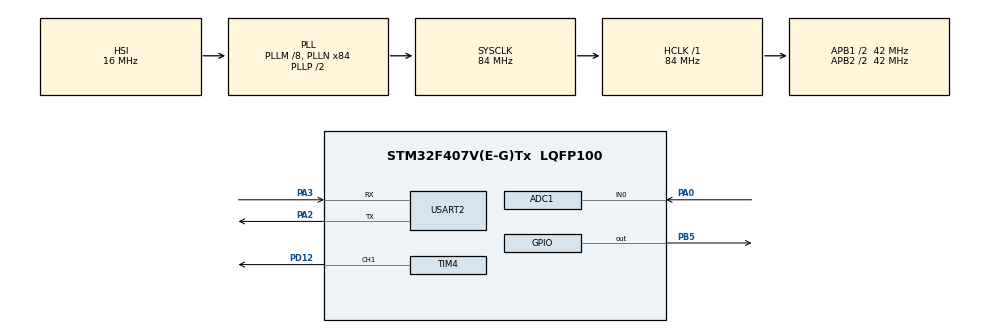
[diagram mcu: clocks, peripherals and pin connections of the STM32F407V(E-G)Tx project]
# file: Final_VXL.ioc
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ADC1.Channel-2\#ChannelRegularConversion=ADC_CHANNEL_0
ADC1.ContinuousConvMode=ENABLE
ADC1.DMAContinuousRequests=ENABLE
ADC1.ExternalTrigConv=ADC_EXTERNALTRIGCONV_T3_TRGO
ADC1.NbrOfConversionFlag=1
ADC1.Rank-2\#ChannelRegularConversion=1
ADC1.SamplingTime-2\#ChannelRegularConversion=ADC_SAMPLETIME_3CYCLES
ADC1.master=1
Dma.ADC1.0.Direction=DMA_PERIPH_TO_MEMORY
Dma.ADC1.0.FIFOMode=DMA_FIFOMODE_DISABLE
Dma.ADC1.0.Instance=DMA2_Stream4
Dma.ADC1.0.MemDataAlignment=DMA_MDATAALIGN_HALFWORD
Dma.ADC1.0.MemInc=DMA_MINC_ENABLE
Dma.ADC1.0.Mode=DMA_CIRCULAR
Dma.ADC1.0.PeriphDataAlignment=DMA_PDATAALIGN_HALFWORD
Dma.ADC1.0.PeriphInc=DMA_PINC_DISABLE
Dma.ADC1.0.Priority=DMA_PRIORITY_LOW
Dma.Request0=ADC1
Dma.Request1=TIM4_CH1
Dma.TIM4_CH1.1.Direction=DMA_MEMORY_TO_PERIPH
Dma.TIM4_CH1.1.FIFOMode=DMA_FIFOMODE_DISABLE
Dma.TIM4_CH1.1.Instance=DMA1_Stream0
Dma.TIM4_CH1.1.MemDataAlignment=DMA_MDATAALIGN_HALFWORD
Dma.TIM4_CH1.1.MemInc=DMA_MINC_ENABLE
Dma.TIM4_CH1.1.Mode=DMA_NORMAL
Dma.TIM4_CH1.1.PeriphDataAlignment=DMA_PDATAALIGN_HALFWORD
Dma.TIM4_CH1.1.PeriphInc=DMA_PINC_DISABLE
Dma.TIM4_CH1.1.Priority=DMA_PRIORITY_LOW
Mcu.Family=STM32F4
Mcu.Name=STM32F407V(E-G)Tx
Mcu.Package=LQFP100
Mcu.UserConstants=LED_CNT,106
NVIC.DMA1_Stream0_IRQn=true\:0\:0\:false\:false\:true\:false\:true\:true
NVIC.DMA2_Stream4_IRQn=true\:0\:0\:false\:false\:true\:false\:true\:true
NVIC.PriorityGroup=NVIC_PRIORITYGROUP_4
NVIC.TIM3_IRQn=true\:0\:0\:false\:false\:true\:true\:true\:true
PA0-WKUP.Signal=ADCx_IN0
PA2.Mode=Asynchronous
PA2.Signal=USART2_TX
PA3.Mode=Asynchronous
PA3.Signal=USART2_RX
PB5.Signal=GPIO_Output
PD12.Signal=S_TIM4_CH1
PH0-OSC_IN.Mode=HSE-External-Oscillator
PH0-OSC_IN.Signal=RCC_OSC_IN
PH1-OSC_OUT.Mode=HSE-External-Oscillator
PH1-OSC_OUT.Signal=RCC_OSC_OUT
ProjectManager.HeapSize=0x200
ProjectManager.StackSize=0x400
ProjectManager.TargetToolchain=STM32CubeIDE
RCC.48MHZClocksFreq_Value=42000000
RCC.AHBFreq_Value=84000000
RCC.APB1CLKDivider=RCC_HCLK_DIV2
RCC.APB1Freq_Value=42000000
RCC.APB1TimFreq_Value=84000000
RCC.APB2CLKDivider=RCC_HCLK_DIV2
RCC.APB2Freq_Value=42000000
RCC.APB2TimFreq_Value=84000000
RCC.CortexFreq_Value=84000000
RCC.HCLKFreq_Value=84000000
RCC.HSE_VALUE=8000000
RCC.HSI_VALUE=16000000
RCC.LSE_VALUE=32768
RCC.PLLM=8
RCC.PLLN=84
RCC.SYSCLKFreq_VALUE=84000000
RCC.SYSCLKSource=RCC_SYSCLKSOURCE_PLLCLK
RCC.VCOOutputFreq_Value=168000000
SH.ADCx_IN0.0=ADC1_IN0,IN0
SH.S_TIM4_CH1.0=TIM4_CH1,PWM Generation1 CH1
STMicroelectronics.X-CUBE-ALGOBUILD.1.4.0.LibraryCcDSPOoLibraryJjDSPOoLibrary=true
TIM3.Period=25-1
TIM3.Prescaler=100-1
TIM3.TIM_MasterOutputTrigger=TIM_TRGO_UPDATE
TIM4.Channel-PWM\ Generation1\ CH1=TIM_CHANNEL_1
TIM4.Period=105
TIM4.Prescaler=0
USART2.VirtualMode=VM_ASYNC
VP_STMicroelectronics.X-CUBE-ALGOBUILD_VS_DSPOoLibraryJjLibrary_1.4.0_1.4.0.Mode=DSPOoLibraryJjLibrary
VP_TIM3_VS_ClockSourceINT.Mode=Internal
VP_TIM4_VS_ClockSourceINT.Mode=Internal
board=custom

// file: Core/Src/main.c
/* USER CODE BEGIN Header */
/**
  ******************************************************************************
  * @file           : main.c
  * @brief          : Main program body
  ******************************************************************************
  * @attention
  *
  * Copyright (c) 2024 STMicroelectronics.
  * All rights reserved.
  *
  * This software is licensed under terms that can be found in the LICENSE file
  * in the root directory of this software component.
  * If no LICENSE file comes with this software, it is provided AS-IS.
  *
  ******************************************************************************
  */
/* USER CODE END Header */
#include "main.h"

/* USER CODE BEGIN Includes */
#include"ws2812.h"
#include "stdlib.h"
#include "arm_math.h"
#include <stdio.h>
#define min(a,b) (((a)<(b))?(a):(b))
#define SamplesFFT 256

uint16_t colorValue[32]= {0x000F,0x03E0,0x03EF,0x7800,0x780F,0x7BE0,
		                  0xC618,0x001F,0x07E0,0x07FF,0xF800,0xF81F,
						  0xFFE0,0xFFFF,0xFD20,0XBC40,0XFC07,0x000F,
						  0x03E0,0x03EF,0x7800,0x780F,0x7BE0,0xC618,
						  0x001F,0x07E0,0x07FF,0xF800,0xF81F,0xFFE0,
						  0xFFFF,0xFD20};
uint32_t next_led = 0;
/* USER CODE END Includes */

ADC_HandleTypeDef hadc1;
DMA_HandleTypeDef hdma_adc1;

TIM_HandleTypeDef htim3;

DMA_HandleTypeDef hdma_tim4_ch1;
TIM_HandleTypeDef htim4;
UART_HandleTypeDef huart2;

void SystemClock_Config(void);
static void MX_GPIO_Init(void);
static void MX_DMA_Init(void);
static void MX_ADC1_Init(void);
static void MX_TIM3_Init(void);
static void MX_USART2_UART_Init(void);
static void MX_TIM4_Init(void);

/* USER CODE BEGIN 0 */
uint16_t adcValue[SamplesFFT];
float32_t input[SamplesFFT];
float32_t output[SamplesFFT];
uint32_t doConvert = SamplesFFT;
volatile uint8_t buffer_half = 0;         // Cờ nửa đầu buffer
volatile uint8_t buffer_full = 0;

// Done sending first half of the DMA buffer - this can now safely be updated

// Done sending the second half of the DMA buffer - this can now be safely updated

void uart_debug(const char *msg) {
    HAL_UART_Transmit(&huart2, (uint8_t *)msg, strlen(msg), HAL_MAX_DELAY);
}

void uart_debug_int(const char *label, int value) {
    char buffer[128];
    sprintf(buffer, "%s: %d\r\n", label, value);
    uart_debug(buffer);
}

void uart_debug_uint(const char *label, uint32_t value) {
    char buffer[128];
    sprintf(buffer, "%s: %lu\r\n", label, value);
    uart_debug(buffer);
}

void uart_debug_float(const char *label, float value) {
    char buffer[128];
    sprintf(buffer, "%s: %.4f\r\n", label, value);
    uart_debug(buffer);
}

void update_led_matrix(uint8_t *ledMatrix) {
	    for (int col = 0; col < 8; col++) {
	        int height = ledMatrix[col]; // Độ cao của cột hiện tại
	        for (int row = 0; row < 8; row++) {
	            uint16_t ledIndex = col + row * 8; // Tính chỉ số LED (ma trận 8x8)
	            if (row < height) { // Chỉ bật LED nếu hàng nhỏ hơn độ cao
	                uint8_t intensity = (row * 32) > 255 ? 255 : (row * 32); // Ánh xạ 0-8 thành 0-255
	                // Gradient màu: đỏ (đáy), xanh lá (giữa), xanh dương (đỉnh)
	                uint8_t red = (height - row) * 32 > 255 ? 255 : (height - row) * 32;   // Giảm dần từ đỏ
	                uint8_t green = (row * 32) > 255 ? 255 : (row * 32);                   // Tăng dần xanh lá
	                uint8_t blue = (row * 16) > 255 ? 255 : (row * 16);                    // Tăng dần xanh dương
	                WS2812_Set(ledIndex, red, green, blue); // Đặt màu cho LED
	            } else {
	                WS2812_Set(ledIndex, 0, 0, 0); // Tắt LED nếu vượt quá độ cao
	            }
	        }
	    }
	    // Giả sử DMA đã được kích hoạt, ví dụ: HAL_TIM_PWM_Start_DMA(...)
}

/* USER CODE END 0 */

int main(void)
{

  /* MCU Configuration--------------------------------------------------------*/

  /* Reset of all peripherals, Initializes the Flash interface and the Systick. */
  HAL_Init();

  /* Configure the system clock */
  SystemClock_Config();

  /* Initialize all configured peripherals */
  MX_GPIO_Init();
  MX_DMA_Init();
  MX_ADC1_Init();
  MX_TIM3_Init();
  MX_USART2_UART_Init();
  MX_TIM4_Init();
  /* USER CODE BEGIN 2 */

   arm_rfft_fast_instance_f32 fftInstance;
   HAL_ADC_Start_DMA(&hadc1, adcValue, SamplesFFT);
   HAL_TIM_Base_Start_IT(&htim3);
   arm_rfft_fast_init_f32(&fftInstance, SamplesFFT);

   WS2812_Init();

   HAL_TIM_PWM_Start_DMA(&htim4, TIM_CHANNEL_1, (uint32_t *)WS2812_RGB_Buff, sizeof(WS2812_RGB_Buff)/sizeof(int));

  /* USER CODE END 2 */

  /* Infinite loop */
  /* USER CODE BEGIN WHILE */
  while (1)
  {
	   // HAL_GPIO_TogglePin(GPIOB, GPIO_PIN_5); // LED debug
	   // HAL_Delay(500);
	 // uart_debug("UART Test OK\r\n");
	//  HAL_Delay(1000);
	  	 		if(doConvert == 0){
	  	 		  		doConvert = SamplesFFT;
	  	 		  		//FFT �?�?

	  	 		  		  	 		uart_debug("ADC Samples:");
	  	 		  		  	 		for (int i = 0; i < SamplesFFT; i+=8) {
	  	 		  		  	 		    char line[128];
	  	 		  		  	 		    int len = sprintf(line, "%4lu %4lu %4lu %4lu %4lu %4lu %4lu %4lu\r\n",
	  	 		  		  	 		                      adcValue[i], adcValue[i+1], adcValue[i+2], adcValue[i+3],
	  	 		  		  	 		                      adcValue[i+4], adcValue[i+5], adcValue[i+6], adcValue[i+7]);
	  	 		  		  	 		    HAL_UART_Transmit(&huart2, (uint8_t *)line, len, HAL_MAX_DELAY);
	  	 		  		  	 		}
	  	 		  		  	 float32_t dcOffset = 0.0f;
	  	 		  		  	 for (int i = 0; i < SamplesFFT; i++) {
	  	 		  		  	     dcOffset += (float32_t)adcValue[i];
	  	 		  		  	 }
	  	 		  		  	 dcOffset /= SamplesFFT;
	  	 		  		  	 for (int i = 0; i < SamplesFFT; i++) {
	  	 		  		  	     if (adcValue[i] >= 4095 || adcValue[i] <= 0) {
	  	 		  		  	         input[i] = 0.0f; // Bỏ qua giá trị rác hoặc bão hòa
	  	 		  		  	     } else {
	  	 		  		  	         input[i] = ((float32_t)adcValue[i] - dcOffset) / 2048.0f; // Chuẩn hóa [-1, 1]
	  	 		  		  	     }
	  	 		  		  	 }

	  	 		  	 uart_debug("Input for FFT:\r\n");
	  	 		  for (int i = 0; i < min(SamplesFFT, 64); i += 8) {
	  	 		                  char line[128];
	  	 		                  snprintf(line, sizeof(line), "%.4f %.4f %.4f %.4f %.4f %.4f %.4f %.4f\r\n",
	  	 		                           input[i], input[i+1], input[i+2], input[i+3],
	  	 		                           input[i+4], input[i+5], input[i+6], input[i+7]);
	  	 		                  if (HAL_UART_Transmit(&huart2, (uint8_t *)line, strlen(line), 1000) != HAL_OK) {
	  	 		                      // Xử lý lỗi
	  	 		                  }
	  	 		              }

	  	 			  		arm_rfft_fast_f32(&fftInstance, input, output, 0);

	  	 		             // Tính độ lớn
	  	 			  	float32_t magnitude[SamplesFFT/2];
	  	 			  	arm_cmplx_mag_f32(output, magnitude, SamplesFFT/2);

	  	 			 uart_debug("FFT Output (Magnitude):\r\n");
	  	 			         for (int i = 0; i < min(SamplesFFT/2, 16); i += 4) {
	  	 			             char line[64];
	  	 			             snprintf(line, sizeof(line), "%.4f %.4f %.4f %.4f\r\n",
	  	 			                      magnitude[i], magnitude[i+1], magnitude[i+2], magnitude[i+3]);
	  	 			             HAL_UART_Transmit(&huart2, (uint8_t *)line, strlen(line), 1000);
	  	 			         }

	  	 		float32_t globalMax = 0;
	  	 		        for (int i = 0; i < SamplesFFT/2; i++) {
	  	 		            if (magnitude[i] > globalMax) globalMax = magnitude[i];
	  	 		        }

	  	 		        // Ánh xạ phổ vào ma trận LED
	  	 		     uint8_t ledMatrix[8] = {0};
	  	 		        for (int band = 0; band < 8; band++) {
	  	 		            float32_t maxMagnitude = 0.0;
	  	 		            for (int i = band * 16; i < (band + 1) * 16 && i < SamplesFFT/2; i++) {
	  	 		                if (magnitude[i] > maxMagnitude) maxMagnitude = magnitude[i];
	  	 		            }
	  	 		            ledMatrix[band] = (uint8_t)((maxMagnitude / (globalMax + 1e-6)) * 8.0); // Chuẩn hóa
	  	 		            if (ledMatrix[band] > 8) ledMatrix[band] = 8;
	  	 		        }

	  	 		        // In giá trị cho ma trận LED (debug)
	  	 		        uart_debug("LED Matrix Columns (0-8):\r\n");

	  	 		        char line[256];
	  	 		        snprintf(line, sizeof(line), "%d %d %d %d %d %d %d %d\r\n",
	  	 		                 ledMatrix[0], ledMatrix[1], ledMatrix[2], ledMatrix[3],
	  	 		                 ledMatrix[4], ledMatrix[5], ledMatrix[6], ledMatrix[7]);
	  	 		        if (HAL_UART_Transmit(&huart2, (uint8_t *)line, strlen(line), 1000) != HAL_OK) {
	  	 		            uart_debug("UART Transmit Error\r\n");
	  	 		        }

	  	 		  		//출력 결과�? 128개로 분할
	  	 		   update_led_matrix(ledMatrix);
	  	 	//	 ws2812_demo_task(&ws2812, HAL_GetTick(), &next_led, ledMatrix);

	  	 		  	  uart_debug("Spectrum displayed to matrix\r\n");
	  	 		}

    /* USER CODE END WHILE */

  }
}

void SystemClock_Config(void)
{
  RCC_OscInitTypeDef RCC_OscInitStruct = {0};
  RCC_ClkInitTypeDef RCC_ClkInitStruct = {0};

  /** Configure the main internal regulator output voltage
  */
  __HAL_RCC_PWR_CLK_ENABLE();
  __HAL_PWR_VOLTAGESCALING_CONFIG(PWR_REGULATOR_VOLTAGE_SCALE1);

  /** Initializes the RCC Oscillators according to the specified parameters
  * in the RCC_OscInitTypeDef structure.
  */
  RCC_OscInitStruct.OscillatorType = RCC_OSCILLATORTYPE_HSI;
  RCC_OscInitStruct.HSIState = RCC_HSI_ON;
  RCC_OscInitStruct.HSICalibrationValue = RCC_HSICALIBRATION_DEFAULT;
  RCC_OscInitStruct.PLL.PLLState = RCC_PLL_ON;
  RCC_OscInitStruct.PLL.PLLSource = RCC_PLLSOURCE_HSI;
  RCC_OscInitStruct.PLL.PLLM = 8;
  RCC_OscInitStruct.PLL.PLLN = 84;
  RCC_OscInitStruct.PLL.PLLP = RCC_PLLP_DIV2;
  RCC_OscInitStruct.PLL.PLLQ = 4;
  if (HAL_RCC_OscConfig(&RCC_OscInitStruct) != HAL_OK)
  {
    Error_Handler();
  }

  /** Initializes the CPU, AHB and APB buses clocks
  */
  RCC_ClkInitStruct.ClockType = RCC_CLOCKTYPE_HCLK|RCC_CLOCKTYPE_SYSCLK
                              |RCC_CLOCKTYPE_PCLK1|RCC_CLOCKTYPE_PCLK2;
  RCC_ClkInitStruct.SYSCLKSource = RCC_SYSCLKSOURCE_PLLCLK;
  RCC_ClkInitStruct.AHBCLKDivider = RCC_SYSCLK_DIV1;
  RCC_ClkInitStruct.APB1CLKDivider = RCC_HCLK_DIV2;
  RCC_ClkInitStruct.APB2CLKDivider = RCC_HCLK_DIV2;

  if (HAL_RCC_ClockConfig(&RCC_ClkInitStruct, FLASH_LATENCY_2) != HAL_OK)
  {
    Error_Handler();
  }
}

static void MX_ADC1_Init(void)
{

  ADC_ChannelConfTypeDef sConfig = {0};

  /** Configure the global features of the ADC (Clock, Resolution, Data Alignment and number of conversion)
  */
  hadc1.Instance = ADC1;
  hadc1.Init.ClockPrescaler = ADC_CLOCK_SYNC_PCLK_DIV2;
  hadc1.Init.Resolution = ADC_RESOLUTION_12B;
  hadc1.Init.ScanConvMode = DISABLE;
  hadc1.Init.ContinuousConvMode = ENABLE;
  hadc1.Init.DiscontinuousConvMode = DISABLE;
  hadc1.Init.ExternalTrigConvEdge = ADC_EXTERNALTRIGCONVEDGE_RISING;
  hadc1.Init.ExternalTrigConv = ADC_EXTERNALTRIGCONV_T3_TRGO;
  hadc1.Init.DataAlign = ADC_DATAALIGN_RIGHT;
  hadc1.Init.NbrOfConversion = 1;
  hadc1.Init.DMAContinuousRequests = ENABLE;
  hadc1.Init.EOCSelection = ADC_EOC_SINGLE_CONV;
  if (HAL_ADC_Init(&hadc1) != HAL_OK)
  {
    Error_Handler();
  }

  /** Configure for the selected ADC regular channel its corresponding rank in the sequencer and its sample time.
  */
  sConfig.Channel = ADC_CHANNEL_0;
  sConfig.Rank = 1;
  sConfig.SamplingTime = ADC_SAMPLETIME_3CYCLES;
  if (HAL_ADC_ConfigChannel(&hadc1, &sConfig) != HAL_OK)
  {
    Error_Handler();
  }

}

static void MX_TIM3_Init(void)
{

  TIM_ClockConfigTypeDef sClockSourceConfig = {0};
  TIM_MasterConfigTypeDef sMasterConfig = {0};

  htim3.Instance = TIM3;
  htim3.Init.Prescaler = 100-1;
  htim3.Init.CounterMode = TIM_COUNTERMODE_UP;
  htim3.Init.Period = 25-1;
  htim3.Init.ClockDivision = TIM_CLOCKDIVISION_DIV1;
  htim3.Init.AutoReloadPreload = TIM_AUTORELOAD_PRELOAD_DISABLE;
  if (HAL_TIM_Base_Init(&htim3) != HAL_OK)
  {
    Error_Handler();
  }
  sClockSourceConfig.ClockSource = TIM_CLOCKSOURCE_INTERNAL;
  if (HAL_TIM_ConfigClockSource(&htim3, &sClockSourceConfig) != HAL_OK)
  {
    Error_Handler();
  }
  sMasterConfig.MasterOutputTrigger = TIM_TRGO_UPDATE;
  sMasterConfig.MasterSlaveMode = TIM_MASTERSLAVEMODE_DISABLE;
  if (HAL_TIMEx_MasterConfigSynchronization(&htim3, &sMasterConfig) != HAL_OK)
  {
    Error_Handler();
  }

}

static void MX_TIM4_Init(void)
{

  TIM_ClockConfigTypeDef sClockSourceConfig = {0};
  TIM_MasterConfigTypeDef sMasterConfig = {0};
  TIM_OC_InitTypeDef sConfigOC = {0};

  htim4.Instance = TIM4;
  htim4.Init.Prescaler = 0;
  htim4.Init.CounterMode = TIM_COUNTERMODE_UP;
  htim4.Init.Period = 104;
  htim4.Init.ClockDivision = TIM_CLOCKDIVISION_DIV1;
  htim4.Init.AutoReloadPreload = TIM_AUTORELOAD_PRELOAD_DISABLE;
  if (HAL_TIM_Base_Init(&htim4) != HAL_OK)
  {
    Error_Handler();
  }
  sClockSourceConfig.ClockSource = TIM_CLOCKSOURCE_INTERNAL;
  if (HAL_TIM_ConfigClockSource(&htim4, &sClockSourceConfig) != HAL_OK)
  {
    Error_Handler();
  }
  if (HAL_TIM_PWM_Init(&htim4) != HAL_OK)
  {
    Error_Handler();
  }
  sMasterConfig.MasterOutputTrigger = TIM_TRGO_RESET;
  sMasterConfig.MasterSlaveMode = TIM_MASTERSLAVEMODE_DISABLE;
  if (HAL_TIMEx_MasterConfigSynchronization(&htim4, &sMasterConfig) != HAL_OK)
  {
    Error_Handler();
  }
  sConfigOC.OCMode = TIM_OCMODE_PWM1;
  sConfigOC.Pulse = 0;
  sConfigOC.OCPolarity = TIM_OCPOLARITY_HIGH;
  sConfigOC.OCFastMode = TIM_OCFAST_DISABLE;
  if (HAL_TIM_PWM_ConfigChannel(&htim4, &sConfigOC, TIM_CHANNEL_1) != HAL_OK)
  {
    Error_Handler();
  }
  HAL_TIM_MspPostInit(&htim4);

}

static void MX_USART2_UART_Init(void)
{

  huart2.Instance = USART2;
  huart2.Init.BaudRate = 115200;
  huart2.Init.WordLength = UART_WORDLENGTH_8B;
  huart2.Init.StopBits = UART_STOPBITS_1;
  huart2.Init.Parity = UART_PARITY_NONE;
  huart2.Init.Mode = UART_MODE_TX_RX;
  huart2.Init.HwFlowCtl = UART_HWCONTROL_NONE;
  huart2.Init.OverSampling = UART_OVERSAMPLING_16;
  if (HAL_UART_Init(&huart2) != HAL_OK)
  {
    Error_Handler();
  }

}

static void MX_DMA_Init(void)
{

  /* DMA controller clock enable */
  __HAL_RCC_DMA2_CLK_ENABLE();
  __HAL_RCC_DMA1_CLK_ENABLE();

  /* DMA interrupt init */
  /* DMA1_Stream0_IRQn interrupt configuration */
  HAL_NVIC_SetPriority(DMA1_Stream0_IRQn, 0, 0);
  HAL_NVIC_EnableIRQ(DMA1_Stream0_IRQn);
  /* DMA2_Stream4_IRQn interrupt configuration */
  HAL_NVIC_SetPriority(DMA2_Stream4_IRQn, 0, 0);
  HAL_NVIC_EnableIRQ(DMA2_Stream4_IRQn);

}

static void MX_GPIO_Init(void)
{
  GPIO_InitTypeDef GPIO_InitStruct = {0};
  /* USER CODE BEGIN MX_GPIO_Init_1 */
  GPIO_InitStruct.Pin = GPIO_PIN_0; // PA0 cho ADC_CHANNEL_0
  GPIO_InitStruct.Mode = GPIO_MODE_ANALOG;
  GPIO_InitStruct.Pull = GPIO_PULLDOWN; // Kéo xuống
  HAL_GPIO_Init(GPIOA, &GPIO_InitStruct);
  /* USER CODE END MX_GPIO_Init_1 */

  /* GPIO Ports Clock Enable */
  __HAL_RCC_GPIOH_CLK_ENABLE();
  __HAL_RCC_GPIOA_CLK_ENABLE();
  __HAL_RCC_GPIOD_CLK_ENABLE();
  __HAL_RCC_GPIOB_CLK_ENABLE();

  /*Configure GPIO pin Output Level */
  HAL_GPIO_WritePin(GPIOB, GPIO_PIN_5, GPIO_PIN_RESET);

  /*Configure GPIO pin : PB5 */
  GPIO_InitStruct.Pin = GPIO_PIN_5;
  GPIO_InitStruct.Mode = GPIO_MODE_OUTPUT_PP;
  GPIO_InitStruct.Pull = GPIO_NOPULL;
  GPIO_InitStruct.Speed = GPIO_SPEED_FREQ_LOW;
  HAL_GPIO_Init(GPIOB, &GPIO_InitStruct);

}

/* USER CODE BEGIN 4 */
void HAL_ADC_ConvCpltCallback(ADC_HandleTypeDef* hadc) {
    if (hadc->Instance == ADC1) {
        doConvert = 0; // Đánh dấu đã thu thập đủ mẫu
    }
}
/* USER CODE END 4 */

void Error_Handler(void)
{
  __disable_irq();
  while (1)
  {
  }
}
